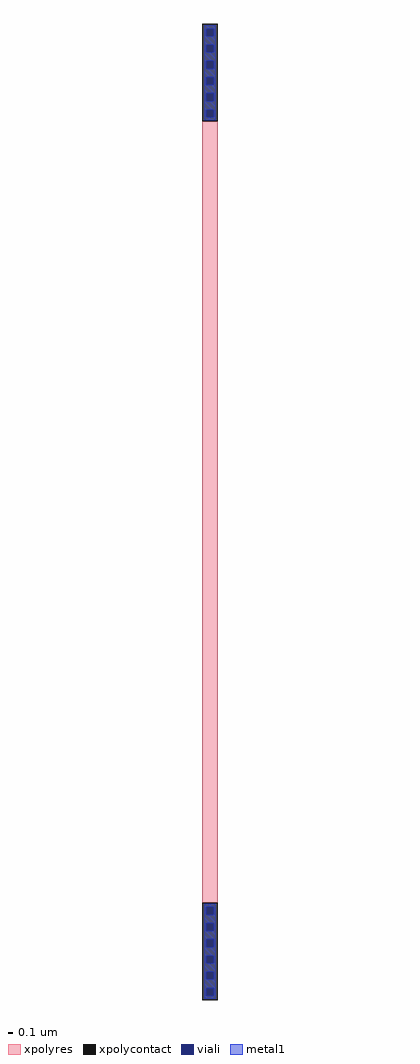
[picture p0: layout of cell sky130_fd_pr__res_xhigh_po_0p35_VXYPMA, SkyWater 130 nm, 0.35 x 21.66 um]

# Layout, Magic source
magic
tech sky130A
magscale 1 2
<< xpolycontact >>
rect -35 1734 35 2166
rect -35 -2166 35 -1734
<< xpolyres >>
rect -35 -1734 35 1734
<< viali >>
rect -17 2112 17 2146
rect -17 2040 17 2074
rect -17 1968 17 2002
rect -17 1896 17 1930
rect -17 1824 17 1858
rect -17 1752 17 1786
rect -17 -1787 17 -1753
rect -17 -1859 17 -1825
rect -17 -1931 17 -1897
rect -17 -2003 17 -1969
rect -17 -2075 17 -2041
rect -17 -2147 17 -2113
<< metal1 >>
rect -25 2146 25 2160
rect -25 2112 -17 2146
rect 17 2112 25 2146
rect -25 2074 25 2112
rect -25 2040 -17 2074
rect 17 2040 25 2074
rect -25 2002 25 2040
rect -25 1968 -17 2002
rect 17 1968 25 2002
rect -25 1930 25 1968
rect -25 1896 -17 1930
rect 17 1896 25 1930
rect -25 1858 25 1896
rect -25 1824 -17 1858
rect 17 1824 25 1858
rect -25 1786 25 1824
rect -25 1752 -17 1786
rect 17 1752 25 1786
rect -25 1739 25 1752
rect -25 -1753 25 -1739
rect -25 -1787 -17 -1753
rect 17 -1787 25 -1753
rect -25 -1825 25 -1787
rect -25 -1859 -17 -1825
rect 17 -1859 25 -1825
rect -25 -1897 25 -1859
rect -25 -1931 -17 -1897
rect 17 -1931 25 -1897
rect -25 -1969 25 -1931
rect -25 -2003 -17 -1969
rect 17 -2003 25 -1969
rect -25 -2041 25 -2003
rect -25 -2075 -17 -2041
rect 17 -2075 25 -2041
rect -25 -2113 25 -2075
rect -25 -2147 -17 -2113
rect 17 -2147 25 -2113
rect -25 -2160 25 -2147
<< end >>
